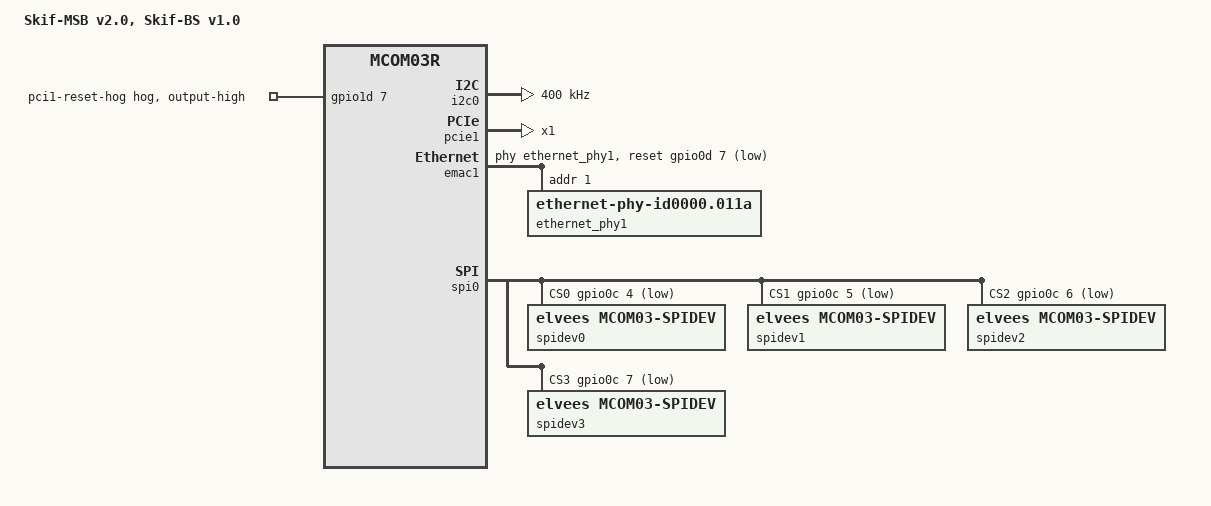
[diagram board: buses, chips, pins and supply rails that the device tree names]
// SPDX-License-Identifier: GPL-2.0+
// Copyright 2025 RnD Center "ELVEES", JSC

/dts-v1/;

#include "mcom03r-skifmsb-v2.0-skifmp-v2.0.dts"

/ {
	model = "Skif-MSB v2.0, Skif-BS v1.0";
	compatible = "elvees,skifmsb-v2.0-skifbs-v1.0",
		     "elvees,skifmsb-skifbs",
		     "elvees,skifbs-v1.0",
		     "elvees,skifbs",
		     "elvees,skifmsb-v2.0",
		     "elvees,skifmsb",
		     "elvees,mcom03r";
};

/* TODO: Add reset-gpios to pcie1 node */
&gpio1d {
	pci1-reset-hog {
		gpio-hog;
		gpios = <7 GPIO_ACTIVE_HIGH>;
		output-high;
	};
};

/* I2C for M.2 slot PCI-E */
&i2c0 {
	status = "okay";
	clock-frequency = <400000>;
};

/* Connected to M.2 slot PCI-E */
&pcie1 {
	status = "okay";
	num-lanes = <1>;
};

&emac1 {
	status = "okay";
	phy-handle = <&ethernet_phy1>;
	reset-gpios = <&gpio0d 7 GPIO_ACTIVE_LOW>;

	ethernet_phy1: ethernet-phy@1 {
		compatible = "ethernet-phy-id0000.011a", "ethernet-phy-ieee802.3-c22";
		reg = <0x1>;

		motorcomm,clk-out-frequency-hz = <0>;
		rx-internal-delay-ps = <1900>;
		tx-internal-delay-ps = <1650>;
	};
};

&spi0 {
	status = "okay";
	num-cs = <4>;
	cs-gpios = <&gpio0c 4 GPIO_ACTIVE_LOW>,
		   <&gpio0c 5 GPIO_ACTIVE_LOW>,
		   <&gpio0c 6 GPIO_ACTIVE_LOW>,
		   <&gpio0c 7 GPIO_ACTIVE_LOW>;

	spidev0@0 {
		compatible = "elvees,mcom03-spidev";
		reg = <0x0>;
	};

	spidev1@1 {
		compatible = "elvees,mcom03-spidev";
		reg = <0x1>;
	};

	spidev2@2 {
		compatible = "elvees,mcom03-spidev";
		reg = <0x2>;
	};

	spidev3@3 {
		compatible = "elvees,mcom03-spidev";
		reg = <0x3>;
	};
};
